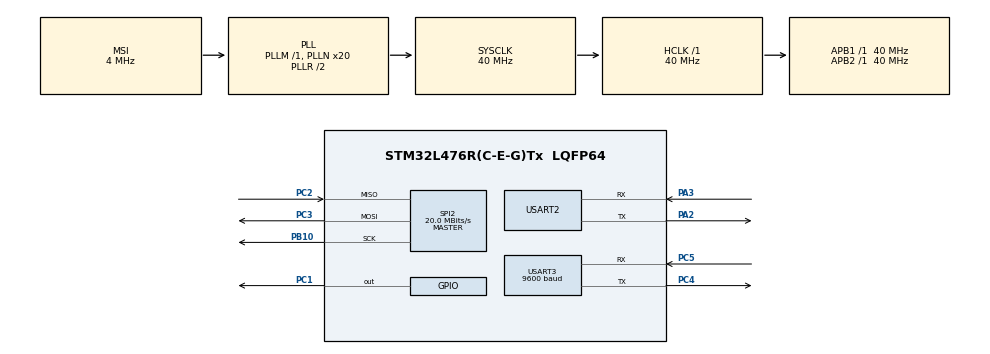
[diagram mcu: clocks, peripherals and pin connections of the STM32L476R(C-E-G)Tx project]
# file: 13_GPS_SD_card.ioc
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FATFS._MAX_SS=4096
FATFS._USE_LFN=1
Mcu.Family=STM32L4
Mcu.Name=STM32L476R(C-E-G)Tx
Mcu.Package=LQFP64
NVIC.PriorityGroup=NVIC_PRIORITYGROUP_4
NVIC.USART3_IRQn=true\:0\:0\:false\:false\:true\:true\:true\:true
PA2.Mode=Asynchronous
PA2.Signal=USART2_TX
PA3.Mode=Asynchronous
PA3.Signal=USART2_RX
PB10.Mode=Full_Duplex_Master
PB10.Signal=SPI2_SCK
PC1.Signal=GPIO_Output
PC2.Mode=Full_Duplex_Master
PC2.Signal=SPI2_MISO
PC3.Mode=Full_Duplex_Master
PC3.Signal=SPI2_MOSI
PC4.Mode=Asynchronous
PC4.Signal=USART3_TX
PC5.Mode=Asynchronous
PC5.Signal=USART3_RX
ProjectManager.HeapSize=0x200
ProjectManager.StackSize=0x400
ProjectManager.TargetToolchain=STM32CubeIDE
RCC.ADCFreq_Value=16000000
RCC.AHBFreq_Value=40000000
RCC.APB1Freq_Value=40000000
RCC.APB1TimFreq_Value=40000000
RCC.APB2Freq_Value=40000000
RCC.APB2TimFreq_Value=40000000
RCC.CortexFreq_Value=40000000
RCC.HCLKFreq_Value=40000000
RCC.HSE_VALUE=8000000
RCC.HSI_VALUE=16000000
RCC.LSE_VALUE=32768
RCC.MSI_VALUE=4000000
RCC.PLLN=20
RCC.PREFETCH_ENABLE=1
RCC.SYSCLKFreq_VALUE=40000000
RCC.SYSCLKSource=RCC_SYSCLKSOURCE_PLLCLK
RCC.USBFreq_Value=16000000
RCC.VCOOutputFreq_Value=80000000
SPI2.CalculateBaudRate=20.0 MBits/s
SPI2.DataSize=SPI_DATASIZE_8BIT
SPI2.Direction=SPI_DIRECTION_2LINES
SPI2.Mode=SPI_MODE_MASTER
SPI2.VirtualType=VM_MASTER
USART2.VirtualMode-Asynchronous=VM_ASYNC
USART3.BaudRate=9600
USART3.VirtualMode-Asynchronous=VM_ASYNC
VP_FATFS_VS_Generic.Mode=User_defined
board=NUCLEO-L476RG

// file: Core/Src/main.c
/* USER CODE BEGIN Header */
/**
  ******************************************************************************
  * @file           : main.c
  * @brief          : Main program body
  ******************************************************************************
  * @attention
  *
  * Copyright (c) 2025 STMicroelectronics.
  * All rights reserved.
  *
  * This software is licensed under terms that can be found in the LICENSE file
  * in the root directory of this software component.
  * If no LICENSE file comes with this software, it is provided AS-IS.
  *
  ******************************************************************************
  */
/* USER CODE END Header */
#include "main.h"
#include "fatfs.h"

/* USER CODE BEGIN Includes */
#include"stdio.h"
#include"string.h"
#include"stdarg.h"
/* USER CODE END Includes */

SPI_HandleTypeDef hspi2;

UART_HandleTypeDef huart2;
UART_HandleTypeDef huart3;

void SystemClock_Config(void);
static void MX_GPIO_Init(void);
static void MX_SPI2_Init(void);
static void MX_USART2_UART_Init(void);
static void MX_USART3_UART_Init(void);
/* USER CODE BEGIN PFP */
void process_SD_card( void );
void read_SD_data(void);
void write_to_SD1(char *msg);
void un_mount(void);

/* USER CODE END PFP */

/* USER CODE BEGIN 0 */

FATFS       FatFs;                //Fatfs handle
FIL         fil;                  //File handle
FRESULT     fres;                 //Result after operations
char        buf[100];

uint8_t rxBuffer[128] = {0};
uint8_t rxIndex = 0;
uint8_t rxData;
float nmeaLong;
float nmeaLat;
float utcTime;
char northsouth;
char eastwest;
char posStatus;
float decimalLong;
float decimalLat;

uint32_t lastSendTime = 0;
const uint32_t SEND_INTERVAL = 5000; // 5 seconds in milliseconds
uint8_t coordinateSent = 0;

void debug_printf(const char *fmt, ...)
{
	char buffer[256];
	va_list args;
	va_start(args, fmt);
	vsnprintf(buffer, sizeof(buffer), fmt, args);
	va_end(args);
	uint16_t i = 0;
	while(buffer[i] != '\0')
	{
		ITM_SendChar(buffer[i]);
		i++;
	}
}

void send_coordinates_periodically(void)
{
    static uint32_t lastTime = 0;
    uint32_t now = HAL_GetTick();

    if (now - lastTime >= 5000) {  // 5 seconds
        char logStr[128];
        sprintf(logStr, "%.6f,%c,%.6f,%c,%.2f\n",
                decimalLat, northsouth,
                decimalLong, eastwest,
                utcTime);

        write_to_SD1(logStr);
        debug_printf("Logged: %s", logStr);

        lastTime = now;
    }
}

float nmeaToDecimal(float coordinate) {
    int degree = (int)(coordinate/100);
    float minutes = coordinate - degree * 100;
    float decimalDegree = minutes / 60;
    float decimal = degree + decimalDegree;
    return decimal;
}

void gpsParse(char *strParse){
  if(!strncmp(strParse, "$GPGGA", 6)){
    sscanf(strParse, "$GPGGA,%f,%f,%c,%f,%c",
      &utcTime, &nmeaLat, &northsouth, &nmeaLong, &eastwest);
    decimalLat = nmeaToDecimal(nmeaLat);
    decimalLong = nmeaToDecimal(nmeaLong);
  }
  else if (!strncmp(strParse, "$GPGLL", 6)){
    sscanf(strParse, "$GPGLL,%f,%c,%f,%c,%f",
      &nmeaLat, &northsouth, &nmeaLong, &eastwest, &utcTime);
    decimalLat = nmeaToDecimal(nmeaLat);
    decimalLong = nmeaToDecimal(nmeaLong);
  }
  else if (!strncmp(strParse, "$GPRMC", 6)){
    sscanf(strParse, "$GPRMC,%f,%c,%f,%c,%f,%c",
      &utcTime, &posStatus, &nmeaLat, &northsouth, &nmeaLong, &eastwest);
    decimalLat = nmeaToDecimal(nmeaLat);
    decimalLong = nmeaToDecimal(nmeaLong);
  }
}

int gpsValidate(char *nmea){
    char check[3];
    char calculatedString[3];
    int index;
    int calculatedCheck;

    index=0;
    calculatedCheck=0;

    // Ensure that the string starts with a "$"
    if(nmea[index] == '$')
        index++;
    else
        return 0;

    //No NULL reached, 75 char largest possible NMEA message, no '*' reached
    while((nmea[index] != 0) && (nmea[index] != '*') && (index < 75)){
        calculatedCheck ^= nmea[index];// calculate the checksum
        index++;
    }

    if(index >= 75){
        return 0;// the string is too long so return an error
    }

    if (nmea[index] == '*'){
        check[0] = nmea[index+1];    //put hex chars in check string
        check[1] = nmea[index+2];
        check[2] = 0;
    }
    else
        return 0;// no checksum separator found therefore invalid data

    sprintf(calculatedString,"%02X",calculatedCheck);
    return((calculatedString[0] == check[0])
        && (calculatedString[1] == check[1])) ? 1 : 0 ;
}

void printLatLon(const char *nmeaSentence) {
    // Check if the sentence starts with $GNGGA
    if(strncmp(nmeaSentence, "$GNGGA", 6) == 0) {
        char line[200];
        strcpy(line, nmeaSentence);  // copy to mutable string

        char *token = strtok(line, ",");       // $GNGGA
        token = strtok(NULL, ",");       // UTC Time
        char *lat = strtok(NULL, ",");    // Latitude
        char *lat_dir = strtok(NULL, ","); // N/S
        char *lon = strtok(NULL, ",");    // Longitude
        char *lon_dir = strtok(NULL, ","); // E/W

        if(lat && lat_dir && lon && lon_dir) {
            debug_printf("Latitude: %s %s, Longitude: %s %s\n", lat, lat_dir, lon, lon_dir);
            //char str[100];
           // sprintf(str, "Coordinates: Lat: %.6f %c, Lon: %.6f %c, Time: %.2f\n",
             //                  decimalLat, northsouth, decimalLong, eastwest, utcTime);
            //write_to_SD1(str);
        }
    }
}

void HAL_UART_RxCpltCallback(UART_HandleTypeDef *huart)
{
  if(huart->Instance == USART3)
  {
    if(rxData != '\n' && rxIndex < sizeof(rxBuffer) - 1)
    {
      rxBuffer[rxIndex++] = rxData;
    }
    else
    {
      rxBuffer[rxIndex] = '\0';

      if(gpsValidate((char*)rxBuffer))
      {
        gpsParse((char*)rxBuffer);

        // Print only after full sentence is parsed
        //debug_printf("Buffer : %s\n",rxBuffer);
        printLatLon((char*)rxBuffer);
        //debug_printf("Latitude : %.6f %c, Longitude : %.6f %c\r\n", decimalLat, northsouth, decimalLong, eastwest);
      }
      else
      {
        debug_printf("Invalid NMEA: %s\r\n", rxBuffer);
      }

      rxIndex = 0;
      memset(rxBuffer, 0, sizeof(rxBuffer));
    }

    // Re-enable interrupt
    HAL_UART_Receive_IT(&huart3, &rxData, 1);
  }
}

/* USER CODE END 0 */

int main(void)
{

  /* MCU Configuration--------------------------------------------------------*/

  /* Reset of all peripherals, Initializes the Flash interface and the Systick. */
  HAL_Init();

  /* Configure the system clock */
  SystemClock_Config();

  /* Initialize all configured peripherals */
  MX_GPIO_Init();
  MX_SPI2_Init();
  MX_FATFS_Init();
  MX_USART2_UART_Init();
  MX_USART3_UART_Init();
  /* USER CODE BEGIN 2 */

  HAL_UART_Receive_IT(&huart3,&rxData,1);

  debug_printf("SD Card Initialization\n");
  process_SD_card();

  /* USER CODE END 2 */

  /* Infinite loop */
  /* USER CODE BEGIN WHILE */
  while (1)
  {
	  send_coordinates_periodically();

	  // Add a small delay to prevent excessive CPU usage
	  HAL_Delay(100);
    /* USER CODE END WHILE */

  }
}

void SystemClock_Config(void)
{
  RCC_OscInitTypeDef RCC_OscInitStruct = {0};
  RCC_ClkInitTypeDef RCC_ClkInitStruct = {0};

  /** Configure the main internal regulator output voltage
  */
  if (HAL_PWREx_ControlVoltageScaling(PWR_REGULATOR_VOLTAGE_SCALE1) != HAL_OK)
  {
    Error_Handler();
  }

  /** Initializes the RCC Oscillators according to the specified parameters
  * in the RCC_OscInitTypeDef structure.
  */
  RCC_OscInitStruct.OscillatorType = RCC_OSCILLATORTYPE_MSI;
  RCC_OscInitStruct.MSIState = RCC_MSI_ON;
  RCC_OscInitStruct.MSICalibrationValue = 0;
  RCC_OscInitStruct.MSIClockRange = RCC_MSIRANGE_6;
  RCC_OscInitStruct.PLL.PLLState = RCC_PLL_ON;
  RCC_OscInitStruct.PLL.PLLSource = RCC_PLLSOURCE_MSI;
  RCC_OscInitStruct.PLL.PLLM = 1;
  RCC_OscInitStruct.PLL.PLLN = 20;
  RCC_OscInitStruct.PLL.PLLP = RCC_PLLP_DIV7;
  RCC_OscInitStruct.PLL.PLLQ = RCC_PLLQ_DIV2;
  RCC_OscInitStruct.PLL.PLLR = RCC_PLLR_DIV2;
  if (HAL_RCC_OscConfig(&RCC_OscInitStruct) != HAL_OK)
  {
    Error_Handler();
  }

  /** Initializes the CPU, AHB and APB buses clocks
  */
  RCC_ClkInitStruct.ClockType = RCC_CLOCKTYPE_HCLK|RCC_CLOCKTYPE_SYSCLK
                              |RCC_CLOCKTYPE_PCLK1|RCC_CLOCKTYPE_PCLK2;
  RCC_ClkInitStruct.SYSCLKSource = RCC_SYSCLKSOURCE_PLLCLK;
  RCC_ClkInitStruct.AHBCLKDivider = RCC_SYSCLK_DIV1;
  RCC_ClkInitStruct.APB1CLKDivider = RCC_HCLK_DIV1;
  RCC_ClkInitStruct.APB2CLKDivider = RCC_HCLK_DIV1;

  if (HAL_RCC_ClockConfig(&RCC_ClkInitStruct, FLASH_LATENCY_2) != HAL_OK)
  {
    Error_Handler();
  }
}

static void MX_SPI2_Init(void)
{

  /* SPI2 parameter configuration*/
  hspi2.Instance = SPI2;
  hspi2.Init.Mode = SPI_MODE_MASTER;
  hspi2.Init.Direction = SPI_DIRECTION_2LINES;
  hspi2.Init.DataSize = SPI_DATASIZE_8BIT;
  hspi2.Init.CLKPolarity = SPI_POLARITY_LOW;
  hspi2.Init.CLKPhase = SPI_PHASE_1EDGE;
  hspi2.Init.NSS = SPI_NSS_SOFT;
  hspi2.Init.BaudRatePrescaler = SPI_BAUDRATEPRESCALER_2;
  hspi2.Init.FirstBit = SPI_FIRSTBIT_MSB;
  hspi2.Init.TIMode = SPI_TIMODE_DISABLE;
  hspi2.Init.CRCCalculation = SPI_CRCCALCULATION_DISABLE;
  hspi2.Init.CRCPolynomial = 7;
  hspi2.Init.CRCLength = SPI_CRC_LENGTH_DATASIZE;
  hspi2.Init.NSSPMode = SPI_NSS_PULSE_ENABLE;
  if (HAL_SPI_Init(&hspi2) != HAL_OK)
  {
    Error_Handler();
  }

}

static void MX_USART2_UART_Init(void)
{

  huart2.Instance = USART2;
  huart2.Init.BaudRate = 115200;
  huart2.Init.WordLength = UART_WORDLENGTH_8B;
  huart2.Init.StopBits = UART_STOPBITS_1;
  huart2.Init.Parity = UART_PARITY_NONE;
  huart2.Init.Mode = UART_MODE_TX_RX;
  huart2.Init.HwFlowCtl = UART_HWCONTROL_NONE;
  huart2.Init.OverSampling = UART_OVERSAMPLING_16;
  huart2.Init.OneBitSampling = UART_ONE_BIT_SAMPLE_DISABLE;
  huart2.AdvancedInit.AdvFeatureInit = UART_ADVFEATURE_NO_INIT;
  if (HAL_UART_Init(&huart2) != HAL_OK)
  {
    Error_Handler();
  }

}

static void MX_USART3_UART_Init(void)
{

  huart3.Instance = USART3;
  huart3.Init.BaudRate = 9600;
  huart3.Init.WordLength = UART_WORDLENGTH_8B;
  huart3.Init.StopBits = UART_STOPBITS_1;
  huart3.Init.Parity = UART_PARITY_NONE;
  huart3.Init.Mode = UART_MODE_TX_RX;
  huart3.Init.HwFlowCtl = UART_HWCONTROL_NONE;
  huart3.Init.OverSampling = UART_OVERSAMPLING_16;
  huart3.Init.OneBitSampling = UART_ONE_BIT_SAMPLE_DISABLE;
  huart3.AdvancedInit.AdvFeatureInit = UART_ADVFEATURE_NO_INIT;
  if (HAL_UART_Init(&huart3) != HAL_OK)
  {
    Error_Handler();
  }

}

static void MX_GPIO_Init(void)
{
  GPIO_InitTypeDef GPIO_InitStruct = {0};

  /* GPIO Ports Clock Enable */
  __HAL_RCC_GPIOC_CLK_ENABLE();
  __HAL_RCC_GPIOA_CLK_ENABLE();
  __HAL_RCC_GPIOB_CLK_ENABLE();

  /*Configure GPIO pin Output Level */
  HAL_GPIO_WritePin(GPIOC, GPIO_PIN_1, GPIO_PIN_RESET);

  /*Configure GPIO pin : PC1 */
  GPIO_InitStruct.Pin = GPIO_PIN_1;
  GPIO_InitStruct.Mode = GPIO_MODE_OUTPUT_PP;
  GPIO_InitStruct.Pull = GPIO_NOPULL;
  GPIO_InitStruct.Speed = GPIO_SPEED_FREQ_LOW;
  HAL_GPIO_Init(GPIOC, &GPIO_InitStruct);

}

/* USER CODE BEGIN 4 */
void process_SD_card( void )
{

    //Mount the SD Card
    fres = f_mount(&FatFs, "", 1);    //1=mount now
    if (fres != FR_OK)
    {
      debug_printf("No SD Card found : (%i)\r\n", fres);
    }
    debug_printf("SD Card Mounted Successfully!!!\r\n");

    //Read the SD Card Total size and Free Size
    FATFS *pfs;
    DWORD fre_clust;
    uint32_t totalSpace, freeSpace;

    f_getfree("", &fre_clust, &pfs);
    totalSpace = (uint32_t)((pfs->n_fatent - 2) * pfs->csize * 0.5);
    freeSpace = (uint32_t)(fre_clust * pfs->csize * 0.5);

    debug_printf("TotalSpace : %lu bytes, FreeSpace = %lu bytes\n", totalSpace, freeSpace);

    //Open the file
    fres = f_open(&fil, "Logs.txt", FA_WRITE | FA_READ | FA_CREATE_ALWAYS);
    if(fres != FR_OK)
    {
    	debug_printf("File creation/open Error : (%i)\r\n", fres);
    }

    debug_printf("Writing data!!!\r\n");

    f_puts("********GPS module Data**************\n", &fil);

    f_close(&fil);

    fres = f_open(&fil, "Logs.txt", FA_READ);
    if(fres != FR_OK)
    {
    	debug_printf("File opening Error : (%i)\r\n", fres);
    }

    f_gets(buf, sizeof(buf), &fil);
    //int len = strlen(buf);

    debug_printf("Read Data : %s\n", buf);

    f_close(&fil);
    debug_printf("Closing File!!!\r\n");

}
void read_SD_data(void)
{
      fres = f_open(&fil, "Logs.txt", FA_READ);
      //int len;

      while(f_gets(buf, sizeof(buf), &fil))
      {
    	  //f_lseek(&fil, strlen(buf)+1);
    	  debug_printf("Sensor_data : %s\n", buf);
    	  //memset(buf,'\0',sizeof(buf));
      }
      f_close(&fil);
}

void write_to_SD1(char *msg)
{
    fres = f_open(&fil, "Logs.txt", FA_OPEN_APPEND | FA_WRITE);
    if (fres == FR_OK) {
        debug_printf("writing log into SD card %s", msg);
        f_puts(msg, &fil);
        f_sync(&fil);
        f_close(&fil);
    } else {
        debug_printf("File open error: %d\n", fres);
    }
}

void un_mount(void)
{
	  f_mount(NULL, "", 0);
	  debug_printf("SD Card Unmounted Successfully!!!\r\n");
}

/* USER CODE END 4 */

void Error_Handler(void)
{
  __disable_irq();
  while (1)
  {
  }
}
